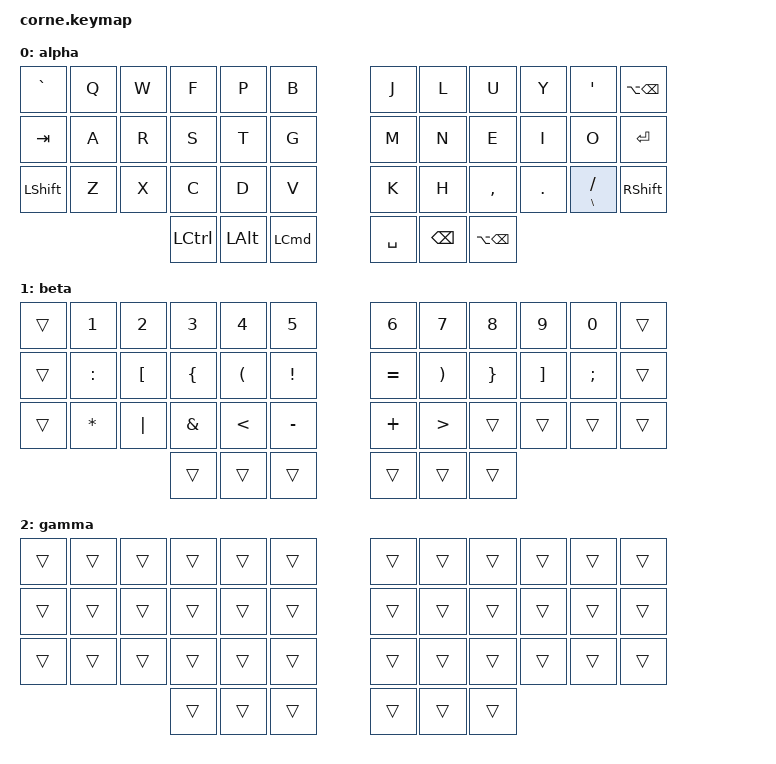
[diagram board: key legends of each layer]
/*
* Copyright (c) 2020 The ZMK Contributors
*
* SPDX-License-Identifier: MIT
*/

#include <behaviors.dtsi>
#include <dt-bindings/zmk/keys.h>

/ {
  combos {
    compatible = "zmk,combos";
    caps {
      bindings = <&caps_word>;
      key-positions = <24 35>;
    };
    esc {
      bindings = <&kp ESC>;
      key-positions = <12 23>;
    };
    to-alpha {
      bindings = <&to 0>;
      key-positions = <38 39>;
      timeout-ms = <30>;
    };
    to-beta {
      bindings = <&to 1>;
      key-positions = <37 40>;
      timeout-ms = <30>;
    };
    to-gamma {
      bindings = <&to 2>;
      key-positions = <36 41>;
      timeout-ms = <30>;
    };
    underscore {
      bindings = <&kp UNDER>;
      key-positions = <0 11>;
    };
  };

  keymap {
    compatible = "zmk,keymap";
    alpha {
      bindings = <
        &kp GRAVE &kp Q    &kp W &kp F &kp P &kp B    &kp J     &kp L     &kp U     &kp Y   &kp APOS      &kp LA(BSPC)
        &kp TAB   &kp A    &kp R &kp S &kp T &kp G    &kp M     &kp N     &kp E     &kp I   &kp O         &kp ENTER
        &kp LSHFT &kp Z    &kp X &kp C &kp D &kp V    &kp K     &kp H     &kp COMMA &kp DOT &mt BSLH FSLH &kp RSHIFT
        &kp LCTRL &kp LALT &kp LEFT_COMMAND           &kp SPACE &kp BSPC  &kp LA(BSPC)
      >;
      label = "alpha";
    };
    beta {
      bindings = <
        &trans &kp N1    &kp N2   &kp N3   &kp N4   &kp N5      &kp N6    &kp N7   &kp N8   &kp N9   &kp N0   &trans
        &trans &kp COLON &kp LBKT &kp LBRC &kp LPAR &kp EXCL    &kp EQUAL &kp RPAR &kp RBRC &kp RBKT &kp SEMI &trans
        &trans &kp STAR  &kp PIPE &kp AMPS &kp LT   &kp MINUS   &kp PLUS  &kp GT   &trans   &trans   &trans   &trans
        &trans &trans    &trans                                 &trans    &trans   &trans
      >;
      label = "beta";
    };
    gamma {
      bindings = <
        &trans  &trans  &trans  &trans  &trans  &trans    &trans  &trans  &trans  &trans  &trans  &trans
        &trans  &trans  &trans  &trans  &trans  &trans    &trans  &trans  &trans  &trans  &trans  &trans
        &trans  &trans  &trans  &trans  &trans  &trans    &trans  &trans  &trans  &trans  &trans  &trans
        &trans  &trans  &trans                            &trans  &trans  &trans
      >;
      label = "gamma";
    };
  };
};
